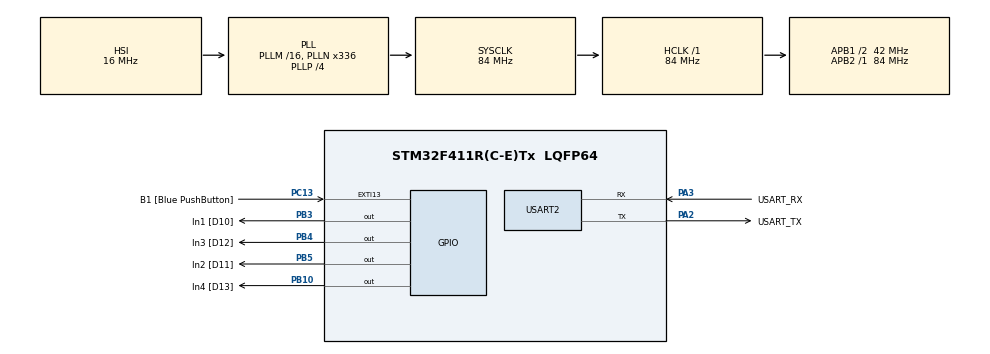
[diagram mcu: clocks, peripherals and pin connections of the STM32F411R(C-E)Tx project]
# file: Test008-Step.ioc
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Mcu.Family=STM32F4
Mcu.Name=STM32F411R(C-E)Tx
Mcu.Package=LQFP64
NVIC.PriorityGroup=NVIC_PRIORITYGROUP_0
PA13.GPIO_Label=TMS
PA13.Mode=Serial_Wire
PA13.Signal=SYS_JTMS-SWDIO
PA14.GPIO_Label=TCK
PA14.Mode=Serial_Wire
PA14.Signal=SYS_JTCK-SWCLK
PA2.GPIO_Label=USART_TX
PA2.Mode=Asynchronous
PA2.Signal=USART2_TX
PA3.GPIO_Label=USART_RX
PA3.Mode=Asynchronous
PA3.Signal=USART2_RX
PB10.GPIO_Label=In4 [D13]
PB10.Signal=GPIO_Output
PB3.GPIO_Label=In1 [D10]
PB3.Signal=GPIO_Output
PB4.GPIO_Label=In3 [D12]
PB4.Signal=GPIO_Output
PB5.GPIO_Label=In2 [D11]
PB5.Signal=GPIO_Output
PC13-ANTI_TAMP.GPIO_Label=B1 [Blue PushButton]
PC13-ANTI_TAMP.GPIO_ModeDefaultEXTI=GPIO_MODE_IT_FALLING
PC13-ANTI_TAMP.Signal=GPXTI13
PC14-OSC32_IN.Mode=LSE-External-Oscillator
PC14-OSC32_IN.Signal=RCC_OSC32_IN
PC15-OSC32_OUT.Mode=LSE-External-Oscillator
PC15-OSC32_OUT.Signal=RCC_OSC32_OUT
PH0\ -\ OSC_IN.Mode=HSE-External-Clock-Source
PH0\ -\ OSC_IN.Signal=RCC_OSC_IN
PH1\ -\ OSC_OUT.Mode=HSE-External-Clock-Source
PH1\ -\ OSC_OUT.Signal=RCC_OSC_OUT
ProjectManager.HeapSize=0x200
ProjectManager.StackSize=0x400
ProjectManager.TargetToolchain=STM32CubeIDE
RCC.48MHZClocksFreq_Value=84000000
RCC.AHBFreq_Value=84000000
RCC.APB1CLKDivider=RCC_HCLK_DIV2
RCC.APB1Freq_Value=42000000
RCC.APB1TimFreq_Value=84000000
RCC.APB2Freq_Value=84000000
RCC.APB2TimFreq_Value=84000000
RCC.CortexFreq_Value=84000000
RCC.FLatency-AdvancedSettings=FLASH_LATENCY_2
RCC.HCLKFreq_Value=84000000
RCC.HSE_VALUE=8000000
RCC.HSI_VALUE=16000000
RCC.PLLN=336
RCC.PLLP=RCC_PLLP_DIV4
RCC.SYSCLKFreq_VALUE=84000000
RCC.SYSCLKSource=RCC_SYSCLKSOURCE_PLLCLK
RCC.VCOOutputFreq_Value=336000000
USART2.VirtualMode=VM_ASYNC
board=NUCLEO-F411RE

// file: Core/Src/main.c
/* USER CODE BEGIN Header */
/**
  ******************************************************************************
  * @file           : main.c
  * @brief          : Main program body
  ******************************************************************************
  * @attention
  *
  * Copyright (c) 2025 STMicroelectronics.
  * All rights reserved.
  *
  * This software is licensed under terms that can be found in the LICENSE file
  * in the root directory of this software component.
  * If no LICENSE file comes with this software, it is provided AS-IS.
  *
  ******************************************************************************
  */
/* USER CODE END Header */
#include "main.h"

UART_HandleTypeDef huart2;

void SystemClock_Config(void);
static void MX_GPIO_Init(void);
static void MX_USART2_UART_Init(void);

int main(void)
{

  /* MCU Configuration--------------------------------------------------------*/

  /* Reset of all peripherals, Initializes the Flash interface and the Systick. */
  HAL_Init();

  /* Configure the system clock */
  SystemClock_Config();

  /* Initialize all configured peripherals */
  MX_GPIO_Init();
  MX_USART2_UART_Init();
  /* USER CODE BEGIN 2 */
  ProgramStart("Step Motor Control");
  /* USER CODE END 2 */

  /* Infinite loop */
  /* USER CODE BEGIN WHILE */
  int step_cnt = 0;
  while (1)
  {
	  if(step_cnt < 256) {
		  // step 1
		  HAL_GPIO_WritePin(In1_GPIO_Port, In1_Pin, 1);
		  HAL_GPIO_WritePin(In2_GPIO_Port, In2_Pin, 0);
		  HAL_GPIO_WritePin(In3_GPIO_Port, In3_Pin, 0);
		  HAL_GPIO_WritePin(In4_GPIO_Port, In4_Pin, 0);
		  HAL_Delay(10);
		  step_cnt++;

		  // step 2
		  HAL_GPIO_WritePin(In1_GPIO_Port, In1_Pin, 0);
		  HAL_GPIO_WritePin(In2_GPIO_Port, In2_Pin, 1);
		  HAL_GPIO_WritePin(In3_GPIO_Port, In3_Pin, 0);
		  HAL_GPIO_WritePin(In4_GPIO_Port, In4_Pin, 0);
		  HAL_Delay(10);
		  step_cnt++;

		  // step 3
		  HAL_GPIO_WritePin(In1_GPIO_Port, In1_Pin, 0);
		  HAL_GPIO_WritePin(In2_GPIO_Port, In2_Pin, 0);
		  HAL_GPIO_WritePin(In3_GPIO_Port, In3_Pin, 1);
		  HAL_GPIO_WritePin(In4_GPIO_Port, In4_Pin, 0);
		  HAL_Delay(10);
		  step_cnt++;

		  // step 4
		  HAL_GPIO_WritePin(In1_GPIO_Port, In1_Pin, 0);
		  HAL_GPIO_WritePin(In2_GPIO_Port, In2_Pin, 0);
		  HAL_GPIO_WritePin(In3_GPIO_Port, In3_Pin, 0);
		  HAL_GPIO_WritePin(In4_GPIO_Port, In4_Pin, 1);
		  HAL_Delay(10);
		  step_cnt++;

	  }
	  else {

		  HAL_GPIO_WritePin(In1_GPIO_Port, In1_Pin, 0);
		  HAL_GPIO_WritePin(In2_GPIO_Port, In2_Pin, 0);
		  HAL_GPIO_WritePin(In3_GPIO_Port, In3_Pin, 0);
		  HAL_GPIO_WritePin(In4_GPIO_Port, In4_Pin, 0);
		  HAL_Delay(10);
	  }
    /* USER CODE END WHILE */

  }
}

void SystemClock_Config(void)
{
  RCC_OscInitTypeDef RCC_OscInitStruct = {0};
  RCC_ClkInitTypeDef RCC_ClkInitStruct = {0};

  /** Configure the main internal regulator output voltage
  */
  __HAL_RCC_PWR_CLK_ENABLE();
  __HAL_PWR_VOLTAGESCALING_CONFIG(PWR_REGULATOR_VOLTAGE_SCALE1);

  /** Initializes the RCC Oscillators according to the specified parameters
  * in the RCC_OscInitTypeDef structure.
  */
  RCC_OscInitStruct.OscillatorType = RCC_OSCILLATORTYPE_HSI;
  RCC_OscInitStruct.HSIState = RCC_HSI_ON;
  RCC_OscInitStruct.HSICalibrationValue = RCC_HSICALIBRATION_DEFAULT;
  RCC_OscInitStruct.PLL.PLLState = RCC_PLL_ON;
  RCC_OscInitStruct.PLL.PLLSource = RCC_PLLSOURCE_HSI;
  RCC_OscInitStruct.PLL.PLLM = 16;
  RCC_OscInitStruct.PLL.PLLN = 336;
  RCC_OscInitStruct.PLL.PLLP = RCC_PLLP_DIV4;
  RCC_OscInitStruct.PLL.PLLQ = 4;
  if (HAL_RCC_OscConfig(&RCC_OscInitStruct) != HAL_OK)
  {
    Error_Handler();
  }

  /** Initializes the CPU, AHB and APB buses clocks
  */
  RCC_ClkInitStruct.ClockType = RCC_CLOCKTYPE_HCLK|RCC_CLOCKTYPE_SYSCLK
                              |RCC_CLOCKTYPE_PCLK1|RCC_CLOCKTYPE_PCLK2;
  RCC_ClkInitStruct.SYSCLKSource = RCC_SYSCLKSOURCE_PLLCLK;
  RCC_ClkInitStruct.AHBCLKDivider = RCC_SYSCLK_DIV1;
  RCC_ClkInitStruct.APB1CLKDivider = RCC_HCLK_DIV2;
  RCC_ClkInitStruct.APB2CLKDivider = RCC_HCLK_DIV1;

  if (HAL_RCC_ClockConfig(&RCC_ClkInitStruct, FLASH_LATENCY_2) != HAL_OK)
  {
    Error_Handler();
  }
}

static void MX_USART2_UART_Init(void)
{

  huart2.Instance = USART2;
  huart2.Init.BaudRate = 115200;
  huart2.Init.WordLength = UART_WORDLENGTH_8B;
  huart2.Init.StopBits = UART_STOPBITS_1;
  huart2.Init.Parity = UART_PARITY_NONE;
  huart2.Init.Mode = UART_MODE_TX_RX;
  huart2.Init.HwFlowCtl = UART_HWCONTROL_NONE;
  huart2.Init.OverSampling = UART_OVERSAMPLING_16;
  if (HAL_UART_Init(&huart2) != HAL_OK)
  {
    Error_Handler();
  }

}

static void MX_GPIO_Init(void)
{
  GPIO_InitTypeDef GPIO_InitStruct = {0};

  /* GPIO Ports Clock Enable */
  __HAL_RCC_GPIOC_CLK_ENABLE();
  __HAL_RCC_GPIOH_CLK_ENABLE();
  __HAL_RCC_GPIOA_CLK_ENABLE();
  __HAL_RCC_GPIOB_CLK_ENABLE();

  /*Configure GPIO pin Output Level */
  HAL_GPIO_WritePin(GPIOB, In4_Pin|In1_Pin|In3_Pin|In2_Pin, GPIO_PIN_RESET);

  /*Configure GPIO pin : B1_Pin */
  GPIO_InitStruct.Pin = B1_Pin;
  GPIO_InitStruct.Mode = GPIO_MODE_IT_FALLING;
  GPIO_InitStruct.Pull = GPIO_NOPULL;
  HAL_GPIO_Init(B1_GPIO_Port, &GPIO_InitStruct);

  /*Configure GPIO pins : In4_Pin In1_Pin In3_Pin In2_Pin */
  GPIO_InitStruct.Pin = In4_Pin|In1_Pin|In3_Pin|In2_Pin;
  GPIO_InitStruct.Mode = GPIO_MODE_OUTPUT_PP;
  GPIO_InitStruct.Pull = GPIO_NOPULL;
  GPIO_InitStruct.Speed = GPIO_SPEED_FREQ_LOW;
  HAL_GPIO_Init(GPIOB, &GPIO_InitStruct);

}

void Error_Handler(void)
{
  __disable_irq();
  while (1)
  {
  }
}
